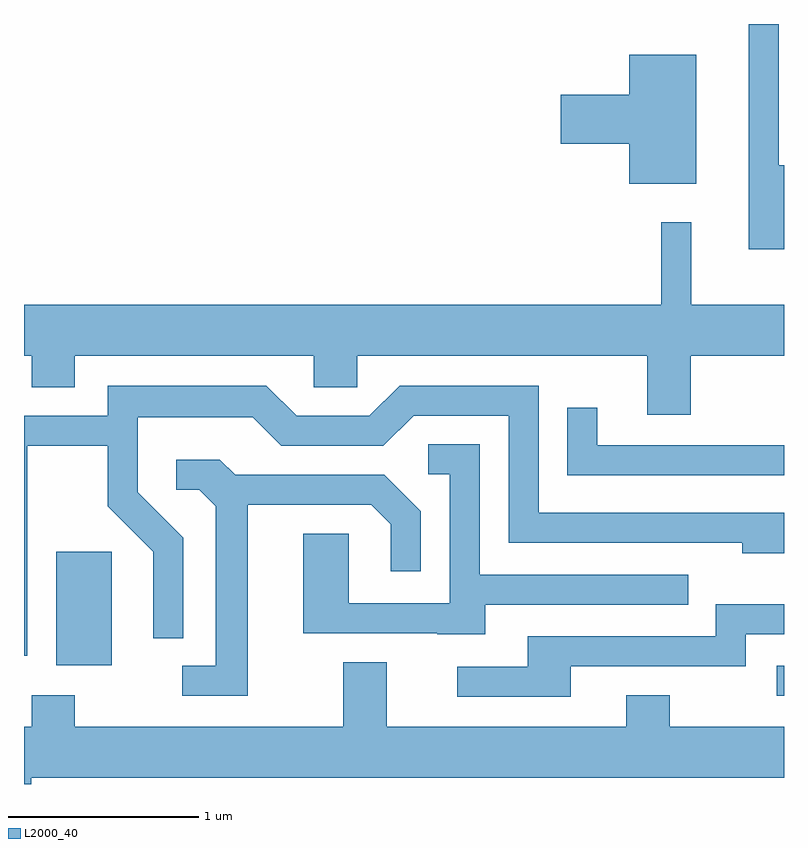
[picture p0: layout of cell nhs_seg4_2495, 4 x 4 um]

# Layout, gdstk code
import gdstk
lib = gdstk.Library(unit=1e-6, precision=1e-09)
def R(c, l, rs):  # rectangles x0, y0, x1, y1
    for r in rs: c.add(gdstk.rectangle(r[:2], r[2:], *l))
def P(c, l, *ps):  # polygons
    for p in ps: c.add(gdstk.Polygon(p, *l))
L2000_40 = (2000, 40)

nhs_seg4_2495 = lib.new_cell('nhs_seg4_2495')
R(nhs_seg4_2495, L2000_40, [(261.573,1348.446,261.611,1348.604), (257.781,1348.606,258.074,1349.204)])
P(nhs_seg4_2495, L2000_40, [(261.611,1351.239),(261.584,1351.239),(261.584,1351.982),(261.426,1351.982),(261.426,1350.796),(261.611,1350.796)],
  [(261.149,1351.819),(260.796,1351.819),(260.796,1351.609),(260.436,1351.609),(260.436,1351.351),(260.796,1351.351),(260.796,1351.141),(261.149,1351.141)],
  [(261.119,1350.236),(261.611,1350.236),(261.611,1350.504),(261.124,1350.504),(261.124,1350.938),(260.966,1350.938),(260.966,1350.504),(257.611,1350.504),(257.611,1350.236),(257.651,1350.236),(257.651,1350.071),(257.879,1350.071),(257.879,1350.236),(259.136,1350.236),(259.136,1350.071),(259.364,1350.071),(259.364,1350.236),(260.891,1350.236),(260.891,1349.926),(261.119,1349.926)],
  [(257.629,1349.761),(258.051,1349.761),(258.051,1349.444),(258.291,1349.204),(258.291,1348.748),(258.449,1348.748),(258.449,1349.277),(258.209,1349.517),(258.209,1349.911),(258.814,1349.911),(258.964,1349.761),(259.502,1349.761),(259.662,1349.921),(260.161,1349.921),(260.161,1349.251),(261.391,1349.251),(261.391,1349.196),(261.611,1349.196),(261.611,1349.409),(260.319,1349.409),(260.319,1350.079),(259.589,1350.079),(259.429,1349.919),(259.046,1349.919),(258.887,1350.079),(258.051,1350.079),(258.051,1349.919),(257.611,1349.919),(257.611,1348.656),(257.629,1348.656)],
  [(261.611,1349.764),(260.629,1349.764),(260.629,1349.963),(260.471,1349.963),(260.471,1349.606),(261.611,1349.606)],
  [(260.039,1348.926),(261.108,1348.926),(261.108,1349.084),(260.009,1349.084),(260.009,1349.769),(259.738,1349.769),(259.738,1349.611),(259.851,1349.611),(259.851,1348.934),(259.319,1348.934),(259.319,1349.299),(259.081,1349.299),(259.081,1348.776),(259.785,1348.776),(259.785,1348.771),(260.039,1348.771)],
  [(258.789,1349.451),(259.439,1349.451),(259.541,1349.349),(259.541,1349.103),(259.699,1349.103),(259.699,1349.417),(259.507,1349.609),(258.722,1349.609),(258.642,1349.689),(258.413,1349.689),(258.413,1349.531),(258.534,1349.531),(258.621,1349.444),(258.621,1348.604),(258.443,1348.604),(258.443,1348.446),(258.789,1348.446)],
  [(260.489,1348.601),(261.409,1348.601),(261.409,1348.771),(261.611,1348.771),(261.611,1348.929),(261.251,1348.929),(261.251,1348.759),(260.261,1348.759),(260.261,1348.599),(259.892,1348.599),(259.892,1348.441),(260.489,1348.441)],
  [(257.649,1348.016),(261.611,1348.016),(261.611,1348.284),(261.009,1348.284),(261.009,1348.449),(260.781,1348.449),(260.781,1348.284),(259.519,1348.284),(259.519,1348.624),(259.291,1348.624),(259.291,1348.284),(257.879,1348.284),(257.879,1348.449),(257.651,1348.449),(257.651,1348.284),(257.611,1348.284),(257.611,1347.982),(257.649,1347.982)])

lib.write_gds('nhs_seg4_2495.gds')
